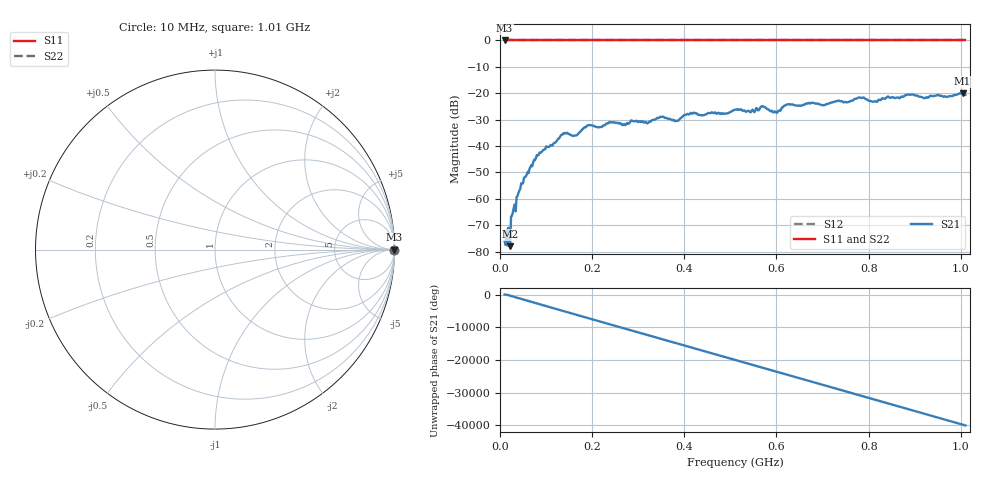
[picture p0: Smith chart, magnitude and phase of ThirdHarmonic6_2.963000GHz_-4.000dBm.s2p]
! 8/17/2025 8:21:55 AM
! C:\ANRITSUVNA\TEMP\TEMP.S2P
! CHANNEL.1
! TR.MEASUREMENT
! RAW.DATA
! RF.CORRECTION.OFF
! AVERAGING.OFF
! IF.BANDWIDTH: 5KHZ
! SWEEPTYPE:  FREQ.SWEEP(Linear)
! Reference Plane Port Info
! PORT:  PORT1  PORT2
! DISTANCE:  0  m  0  m
! TIME:  0  s  0  s
! PHASE.OFFSET:  0  deg.  0  deg.
! LOSS:  0  dB  0  dB
! REF.LOSS:  0  dB  0  dB
! REF.FREQ:  0  Hz  0  Hz
! Power Info
! POWER:  -20  dBm  -20  dBm
! EFF.POWER:  -20  dBm  -20  dBm
! SOURCE.ATTEN:  0  dB  0  dB
! TEST.ATTEN:  0  dB  0  dB
# GHZ S RI R 50.0
! FREQ.GHZ  S11RE  S11IM  S21RE  S21IM  S12RE  S12IM  S22RE  S22IM
!; PortSelection: Port_12
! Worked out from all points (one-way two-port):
!   501 points, 10 MHz to 1.01 GHz, reference 50 ohm
!   highest |S21| = -19.96 dB at 1.004 GHz (marker M1); lowest = -77.9 dB at 22 MHz (marker M2)
!   lowest |S11| = 0.0 dB at 10 MHz (marker M3)
!   |S11| at or under -10 dB: nowhere
!   |S22| runs from 0.0 to 0.0 dB; largest |S21 - S12| = 1.1
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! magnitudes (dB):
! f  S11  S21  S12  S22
! 10 MHz  0.0  -76.1  0.0  0.0
! 18 MHz  0.0  -71.0  0.0  0.0
! 22 MHz  0.0  -77.9  0.0  0.0
! 28 MHz  0.0  -65.1  0.0  0.0
! 44 MHz  0.0  -56.2  0.0  0.0
! 82 MHz  0.0  -43.5  0.0  0.0
! 136 MHz  0.0  -35.6  0.0  0.0
! 162 MHz  0.0  -36.0  0.0  0.0
! 178 MHz  0.0  -33.8  0.0  0.0
! 194 MHz  0.0  -32.1  0.0  0.0
! 322 MHz  0.0  -31.1  0.0  0.0
! 344 MHz  0.0  -29.4  0.0  0.0
! 384 MHz  0.0  -30.5  0.0  0.0
! 418 MHz  0.0  -27.7  0.0  0.0
! 510 MHz  0.0  -26.2  0.0  0.0
! 570 MHz  0.0  -24.9  0.0  0.0
! 598 MHz  0.0  -27.0  0.0  0.0
! 624 MHz  0.0  -24.2  0.0  0.0
! 678 MHz  0.0  -23.6  0.0  0.0
! 844 MHz  0.0  -21.5  0.0  0.0
! 1.004 GHz  0.0  -20.0  0.0  0.0
! 1.01 GHz  0.0  -20.6  0.0  0.0
